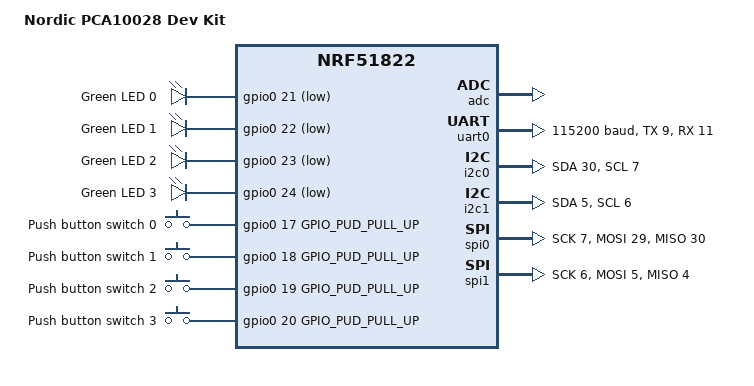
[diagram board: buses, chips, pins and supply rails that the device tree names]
/*
 * Copyright (c) 2017 Linaro Limited
 *
 * SPDX-License-Identifier: Apache-2.0
 */

/dts-v1/;
#include <nordic/nrf51822_qfac.dtsi>

/ {
	model = "Nordic PCA10028 Dev Kit";
	compatible = "nordic,pca10028-dk", "nordic,nrf51822-qfac",
		     "nordic,nrf51822";

	chosen {
		zephyr,console = &uart0;
#ifdef CONFIG_MCUMGR_SMP_UART
		zephyr,uart-mcumgr = &uart0;
#endif
		zephyr,sram = &sram0;
		zephyr,flash = &flash0;
	};

	leds {
		compatible = "gpio-leds";
		led0: led@0 {
			gpios = <&gpio0 21 GPIO_INT_ACTIVE_LOW>;
			label = "Green LED 0";
		};
		led1: led@1 {
			gpios = <&gpio0 22 GPIO_INT_ACTIVE_LOW>;
			label = "Green LED 1";
		};
		led2: led@2 {
			gpios = <&gpio0 23 GPIO_INT_ACTIVE_LOW>;
			label = "Green LED 2";
		};
		led3: led@3 {
			gpios = <&gpio0 24 GPIO_INT_ACTIVE_LOW>;
			label = "Green LED 3";
		};
	};

	buttons {
		compatible = "gpio-keys";
		button0: button@0 {
			gpios = <&gpio0 17 GPIO_PUD_PULL_UP>;
			label = "Push button switch 0";
		};
		button1: button@1 {
			gpios = <&gpio0 18 GPIO_PUD_PULL_UP>;
			label = "Push button switch 1";
		};
		button2: button@2 {
			gpios = <&gpio0 19 GPIO_PUD_PULL_UP>;
			label = "Push button switch 2";
		};
		button3: button@3 {
			gpios = <&gpio0 20 GPIO_PUD_PULL_UP>;
			label = "Push button switch 3";
		};
	};

	/* These aliases are provided for compatibility with samples */
	aliases {
		led0 = &led0;
		led1 = &led1;
		led2 = &led2;
		led3 = &led3;
		sw0 = &button0;
		sw1 = &button1;
		sw2 = &button2;
		sw3 = &button3;
	};
};

&gpiote {
	status ="ok";
};

&gpio0 {
	status ="ok";
};

&adc {
	status ="ok";
};

&uart0 {
	current-speed = <115200>;
	status = "ok";
	tx-pin = <9>;
	rx-pin = <11>;
	rts-pin = <8>;
	cts-pin = <10>;
};

&i2c0 {
	status = "ok";
	sda-pin = <30>;
	scl-pin = <7>;
};

&i2c1 {
	status = "ok";
	sda-pin = <5>;
	scl-pin = <6>;
};

&spi0 {
	status = "ok";
	sck-pin = <7>;
	mosi-pin = <29>;
	miso-pin = <30>;
};

&spi1 {
	status = "ok";
	sck-pin = <6>;
	mosi-pin = <5>;
	miso-pin = <4>;
};

&flash0 {
	/*
	 * For more information, see:
	 * http://docs.zephyrproject.org/latest/devices/dts/flash_partitions.html
	 */
	partitions {
		compatible = "fixed-partitions";
		#address-cells = <1>;
		#size-cells = <1>;

		boot_partition: partition@0 {
			label = "mcuboot";
			reg = <0x00000000 0x8000>;
		};
		slot0_partition: partition@8000 {
			label = "image-0";
			reg = <0x00008000 0x1a000>;
		};
		slot1_partition: partition@22000 {
			label = "image-1";
			reg = <0x00022000 0x1a000>;
		};
		scratch_partition: partition@3c000 {
			label = "image-scratch";
			reg = <0x0003c000 0x2000>;
		};

#if defined(CONFIG_FS_FLASH_STORAGE_PARTITION)
		storage_partition: partition@3e000 {
			label = "storage";
			reg = <0x0003e000 0x00002000>;
		};
#endif
	};
};
